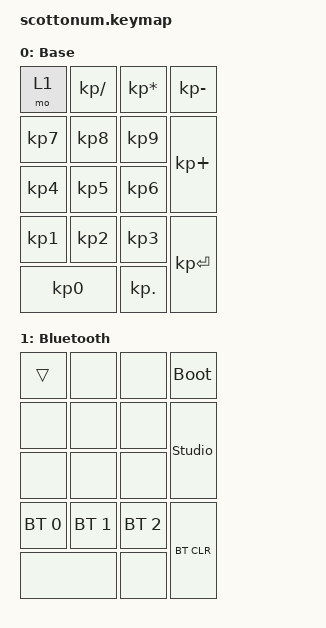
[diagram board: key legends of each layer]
#include <behaviors.dtsi>
#include <dt-bindings/zmk/keys.h>
#include <dt-bindings/zmk/bt.h>

/ {  
    keymap {
        compatible = "zmk,keymap";

        default_layer {
            label = "Base";
            bindings = <
                &mo 1         &kp KP_SLASH     &kp KP_ASTERISK     &kp KP_MINUS
                &kp KP_N7     &kp KP_N8        &kp KP_N9           &kp KP_PLUS
                &kp KP_N4     &kp KP_N5        &kp KP_N6
                &kp KP_N1     &kp KP_N2        &kp KP_N3           &kp KP_ENTER
                &kp KP_N0                      &kp KP_DOT
            >;
        }; 
        
        bt_layer {
            label = "Bluetooth";
            bindings = <
                &trans       &none        &none        &bootloader
                &none        &none        &none        &studio_unlock
                &none        &none        &none
                &bt BT_SEL 0 &bt BT_SEL 1 &bt BT_SEL 2 &bt BT_CLR
                &none        &none
            >;
        };
    };
};
